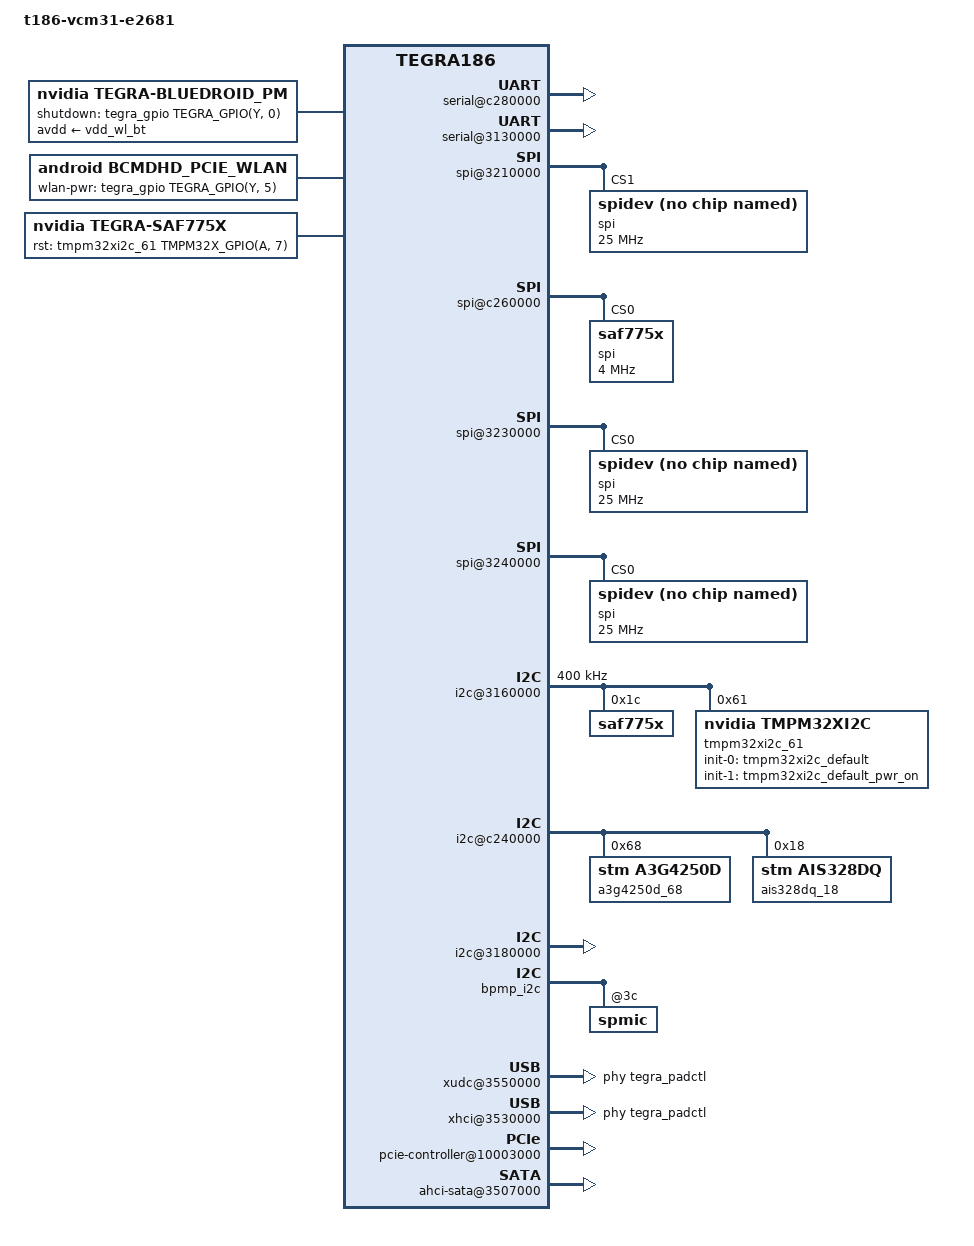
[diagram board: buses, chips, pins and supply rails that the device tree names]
/*
 * tegra186-vcm31-e2681-common.dtsi: VCM3.1 based E2681 A01
 * common dtsi.
 *
 * Copyright (c) 2016, NVIDIA CORPORATION.  All rights reserved.
 *
 * This program is free software; you can redistribute it and/or modify
 * it under the terms of the GNU General Public License as published by
 * the Free Software Foundation; version 2 of the License.
 *
 * This program is distributed in the hope that it will be useful, but WITHOUT
 * ANY WARRANTY; without even the implied warranty of MERCHANTABILITY or
 * FITNESS FOR A PARTICULAR PURPOSE.  See the GNU General Public License for
 * more details.
 */

#include <dt-bindings/types.h>
#include <dt-bindings/gpio/tmpm32x-gpio.h>
/dts-v1/;

/memreserve/ 0x80000000 0x00010000;

#include "tegra186-platforms/tegra186-vcm31.dtsi"
#include "tegra186-platforms/tegra186-vcm31-power-tree-e2681-003-a01-00.dtsi"

#define EXTCON_NONE		0
#define EXTCON_USB             1
#define EXTCON_USB_Host        2

/ {
        model = "t186-vcm31-e2681";
        compatible = "nvidia,t186-vcm31-e2681", "nvidia,tegra186";

        nvidia,dtbbuildtime = __DATE__, __TIME__;
        #address-cells = <2>;
        #size-cells = <2>;

	pmc@c360000 {
		io-pad-defaults {
			sdmmc1-hv {
				nvidia,enable-dynamic-pad-voltage;
			};

			sdmmc3-hv {
				nvidia,enable-dynamic-pad-voltage;
			};
		};
	};

	serial@c280000 { /* TEGRA UARTC <-> VCM UARTC: satellite Radio */
		status = "okay";
	};

	serial@3130000 { /* Tegra UARTD <-> VCM UARTD: BT */
		status = "okay";
	};

	spi@3210000 { /* Tegra SPI1 <-> VCM SPIB: Display AIC */
		status = "okay";
		spi@0 {
			compatible = "spidev";
			reg = <1>;
			spi-max-frequency = <25000000>;
		};
	};

	spi@c260000 { /* Tegra SPI2 <-> VCM SPIA: Dirana */
		status = "okay";
		spi@0 {
			compatible = "saf775x";
			reg = <0>;
			spi-max-frequency = <4000000>;
			spi-cpha;
			controller-data {
				nvidia,clk-delay-between-packets = <10>;
				nvidia,chipselect-gpio = <&tegra_gpio TEGRA_GPIO(N,0) 0>;
			};
		};
	};

	spi@3230000 { /* Tegra SPI3 <-> VCM SPID: HD, DAB AIC, */
		status = "okay";
		spi@0 {
			compatible = "spidev";
			reg = <0>;
			spi-max-frequency = <25000000>;
		};
	};

	spi@3240000 { /* Tegra SPI4 <-> VCM SPIC: MCU */
		status = "okay";
		spi@0 {
			compatible = "spidev";
			reg = <0>;
			spi-max-frequency = <25000000>;
		};
	};

	i2c@3160000 { /* Tegra I2C1 - VCM I2CA */
		clock-frequency = <400000>;
		saf775x@1c {
			 compatible = "saf775x";
			 reg = <0x1c>;
			 status = "okay";
		};

		tmpm32xi2c_61: tmpm32xi2c@61 {
			compatible = "nvidia,tmpm32xi2c";
			gpio-controller;
			#gpio-cells = <2>;
			reg = <0x61>;
			gpio-init-names = "default", "pwr_on_default";
			gpio-init-0 = <&tmpm32xi2c_default>;
			gpio-init-1 = <&tmpm32xi2c_default_pwr_on>;
			tmpm32xi2c_default: default {
				gpio-output-high = <
					TMPM32X_GPIO(D, 1) /* FIXME: D1 is BT_HOST_wake, supposed to be input */
					TMPM32X_GPIO(L, 6)
					>;
			};
			tmpm32xi2c_default_pwr_on: pwr_on_default {
			};
		};
	};

	i2c@c240000 { /* Tegra I2C2 <-> VCM I2CB */
		nvidia,clock-always-on;
		a3g4250d_68: a3g4250d@68 {
			compatible = "stm,a3g4250d";
			reg = <0x68>;
			gyroscope_matrix = [ff 00 00 00 ff 00 00 00 01];
		};
		ais328dq_18: ais328dq@18 {
			compatible = "stm,ais328dq";
			reg = <0x18>;
			accelerometer_matrix = [ff 00 00 00 ff 00 00 00 01];
		};
	};

	i2c@3180000 { /* Tegra I2C3 - VCM I2CD */
		status = "okay";
	};


	bluedroid_pm { /* BCM89359 */
		compatible = "nvidia,tegra-bluedroid_pm";
		id = <0>;
		bluedroid_pm,shutdown-gpio = <&tegra_gpio TEGRA_GPIO(Y, 0) 0>;
		avdd-supply = <&vdd_wl_bt>;
	};

	gpio@2200000 {
		gpio-init-1 = <&wlan_default>;

		wlan_default: wlan-default {
			gpio-output-high = <
				TEGRA_GPIO(Y, 5)
				>;
		};
	};

	bcmdhd_pcie_wlan {
			compatible = "android,bcmdhd_pcie_wlan";
			wlan-pwr-gpio = <&tegra_gpio TEGRA_GPIO(Y, 5) GPIO_ACTIVE_HIGH>;
			fw_path = "/system/vendor/firmware/fw_bcmdhd.bin";
			nv_path = "/system/etc/nvram_murata_4359_b1.txt";
			status = "okay";
	};

	fixed-regulators {

		vdd_wl_bt: regulator@6 {
			status = "okay";
		};
	};

	saf775x { /* dirana3 */
		status = "okay";
		compatible = "nvidia,tegra-saf775x";
		id = <0>;
		rst-gpio = <&tmpm32xi2c_61 TMPM32X_GPIO(A, 7) 0>;
	};

	pinctrl@3520000 {
		status = "okay";
		pinctrl-0 = <&p2382_padctl_default>;
		pinctrl-names = "default";
		p2382_padctl_default: pinmux {
			usb2-std-A-port1 {
				nvidia,lanes = "otg-0";
				nvidia,function = "xusb";
				nvidia,port-cap = <TEGRA_PADCTL_PORT_OTG_CAP>;
			};
			usb3-std-A-port1 {
				nvidia,lanes = "usb3-1";
				nvidia,port-cap = <TEGRA_PADCTL_PORT_OTG_CAP>;
			};
			usb2-modem {
				nvidia,lanes = "otg-1";
				nvidia,function = "xusb";
				nvidia,port-cap = <TEGRA_PADCTL_PORT_HOST_ONLY>;
			};
			usb2-std-A-port2 {
				nvidia,lanes = "otg-2";
				nvidia,function = "xusb";
				nvidia,port-cap = <TEGRA_PADCTL_PORT_HOST_ONLY>;
			};
			usb3-std-A-port2 {
				nvidia,lanes = "usb3-2";
				nvidia,port-cap = <TEGRA_PADCTL_PORT_HOST_ONLY>;
			};
                        usb3-std-A-port0 {
                                nvidia,lanes = "usb3-0";
                                nvidia,port-cap = <TEGRA_PADCTL_PORT_HOST_ONLY>;
                        };

		};
	};

	bpmp_i2c {
		spmic: spmic@3c {
			pinctrl-names = "default";
			pinctrl-0 = <&spmic_default>;
			spmic_default: pinmux@0 {
				pin_gpio0 { /* USB ID */
				pins = "gpio0";
				function = "gpio";
				};
			};
		};
	};

	external-connection {
		vbus_id_extcon: extcon@1 {
			compatible = "extcon-gpio-states";
			reg = <0x1>;
			extcon-gpio,name = "VBUS";
			/*
			 * Array of gstate,cstate pairs. Each pair shows how to
			 * map GPIO signal values into cable values as defined
			 * by the consumer in question.  Here:
			 *
			 * cstate[x].bit0 -> VBUS cable
			 * cstate[x].bit1 -> nID cable
			 *
			 * Since we don't support VBUS sensing, in gadget mode
			 * (cstate[x].bit1 == 0), set cstate[x].bit0 to 1.
			 */
			extcon-gpio,cable-states = <0x3 0x1
						0x0 0x2
						0x1 0x2
						0x2 0x1>;
			/* C.00 is an unused GPIO in our reference platform */
			gpios = <&tegra_gpio TEGRA_GPIO(C, 0) 0 &spmic 0 0>;
			extcon-gpio,out-cable-name-strings = "USB", "USB-Host";
			extcon-gpio,out-cable-names = <EXTCON_USB EXTCON_USB_Host EXTCON_NONE>;
			#extcon-cells = <1>;
		};
	};

	mailbox@3538000 {
		status = "okay";
	};

	xudc@3550000 {
		status = "okay";
		extcon-cables = <&vbus_id_extcon 0>;
		extcon-cable-names = "vbus";
		#extcon-cells = <1>;
		phys = <&tegra_padctl TEGRA_PADCTL_PHY_UTMI_P(0)>,
			<&tegra_padctl TEGRA_PADCTL_PHY_USB3_P(1)>;
		phy-names = "usb2", "usb3";
	};

	xhci@3530000 {
		status = "okay";
		extcon-cables = <&vbus_id_extcon 1>;
		extcon-cable-names = "id";
		#extcon-cells = <1>;
		phys = <&tegra_padctl TEGRA_PADCTL_PHY_UTMI_P(0)>,
			<&tegra_padctl TEGRA_PADCTL_PHY_UTMI_P(1)>,
			<&tegra_padctl TEGRA_PADCTL_PHY_UTMI_P(2)>,
                        <&tegra_padctl TEGRA_PADCTL_PHY_USB3_P(0)>,
			<&tegra_padctl TEGRA_PADCTL_PHY_USB3_P(1)>,
			<&tegra_padctl TEGRA_PADCTL_PHY_USB3_P(2)>;
		phy-names = "utmi-0", "utmi-1", "utmi-2", "usb3-0", "usb3-1", "usb3-2";
	};

	pcie-controller@10003000 {
		nvidia,lane-map = <0x211>;
		status = "okay";
	        pci@1,0 {
                        status = "okay";
                };
		pci@2,0 {
			status = "okay";
		};
	};

	mttcan@c310000 {
		gpio_can_stb = <&tegra_gpio TEGRA_GPIO(AA, 0) GPIO_ACTIVE_HIGH>;
		gpio_can_en = <&tegra_gpio TEGRA_GPIO(AA, 1) GPIO_ACTIVE_HIGH>;
		mram-params = <0 16 16 8 8 8 16 16 16>;
	};

	mttcan@c320000 {
		gpio_can_stb = <&tegra_gpio TEGRA_GPIO(AA, 6) GPIO_ACTIVE_HIGH>;
		gpio_can_en = <&tegra_gpio TEGRA_GPIO(AA, 7) GPIO_ACTIVE_HIGH>;
		mram-params = <0 16 16 8 8 8 16 16 16>;
	};
	ahci-sata@3507000 {
		status = "okay";
	};

	ahub {
		arad@290e400 {
			status = "okay";
		};
	};

	sound_ref {
		status = "okay";
		compatible = "nvidia,tegra-audio-t186ref-p2382";
		nvidia,model = "tegra186-snd-p2382";
		nvidia,num-clk = <8>;
		nvidia,clk-rates = < 282240000  /* PLLA_x11025_RATE */
				     11289600   /* AUD_MCLK_x11025_RATE */
				     45158400   /* PLLA_OUT0_x11025_RATE */
				     45158400   /* AHUB_x11025_RATE */
				     368640000  /* PLLA_x8000_RATE */
				     12288000   /* AUD_MCLK_x8000_RATE */
				     184319970  /* PLLA_OUT0_x8000_RATE */
				     49151992 >;/* AHUB_x8000_RATE */
		clocks =<&tegra_car TEGRA186_CLK_PLLP_OUT0>,
			<&tegra_car TEGRA186_CLK_PLLA>,
			<&tegra_car TEGRA186_CLK_PLL_A_OUT0>,
			<&tegra_car TEGRA186_CLK_AHUB>,
			<&tegra_car TEGRA186_CLK_CLK_M>,
			<&tegra_car TEGRA186_CLK_AUD_MCLK>;
		clock-names = "pll_p_out1", "pll_a", "pll_a_out0", "ahub", "clk_m",
			"extern1";
		resets = <&tegra_car TEGRA186_RESET_AUD_MCLK>;
		reset-names = "extern1_rst";
		nvidia,num-codec-link = <3>;
		nvidia,num-amx = <4>;
		nvidia,num-adx = <4>;
		nvidia,amx-slot-size = <32 32 32 32>;
		nvidia,adx-slot-size = <32 32 32 32>;
		nvidia,amx1-slot-map = <
			/* jack 0 */
			TDM_SLOT_MAP(0, 0, 0)
			TDM_SLOT_MAP(0, 0, 0)
			TDM_SLOT_MAP(0, 1, 0)
			TDM_SLOT_MAP(0, 1, 1)
			TDM_SLOT_MAP(0, 0, 0)
			TDM_SLOT_MAP(0, 0, 0)
			TDM_SLOT_MAP(0, 2, 0)
			TDM_SLOT_MAP(0, 2, 1)
			/* jack 1 */
			TDM_SLOT_MAP(0, 0, 0)
			TDM_SLOT_MAP(0, 0, 0)
			TDM_SLOT_MAP(1, 1, 0)
			TDM_SLOT_MAP(1, 1, 1)
			TDM_SLOT_MAP(0, 0, 0)
			TDM_SLOT_MAP(0, 0, 0)
			TDM_SLOT_MAP(1, 2, 0)
			TDM_SLOT_MAP(1, 2, 1)
			/* jack 2 */
			TDM_SLOT_MAP(0, 0, 0)
			TDM_SLOT_MAP(0, 0, 0)
			TDM_SLOT_MAP(2, 1, 0)
			TDM_SLOT_MAP(2, 1, 1)
			TDM_SLOT_MAP(0, 0, 0)
			TDM_SLOT_MAP(0, 0, 0)
			TDM_SLOT_MAP(2, 2, 0)
			TDM_SLOT_MAP(2, 2, 1)
			/* jack 3 */
			TDM_SLOT_MAP(0, 0, 0)
			TDM_SLOT_MAP(0, 0, 0)
			TDM_SLOT_MAP(3, 1, 0)
			TDM_SLOT_MAP(3, 1, 1)
			TDM_SLOT_MAP(0, 0, 0)
			TDM_SLOT_MAP(0, 0, 0)
			TDM_SLOT_MAP(3, 2, 0)
			TDM_SLOT_MAP(3, 2, 1)>;

		nvidia,adx1-slot-map = <
			/* jack 0 */
			TDM_SLOT_MAP(0, 0, 0)
			TDM_SLOT_MAP(0, 0, 0)
			TDM_SLOT_MAP(0, 1, 0)
			TDM_SLOT_MAP(0, 1, 1)
			TDM_SLOT_MAP(0, 0, 0)
			TDM_SLOT_MAP(0, 0, 0)
			TDM_SLOT_MAP(0, 2, 0)
			TDM_SLOT_MAP(0, 2, 1)
			/* jack 1 */
			TDM_SLOT_MAP(0, 0, 0)
			TDM_SLOT_MAP(0, 0, 0)
			TDM_SLOT_MAP(1, 1, 0)
			TDM_SLOT_MAP(1, 1, 1)
			TDM_SLOT_MAP(0, 0, 0)
			TDM_SLOT_MAP(0, 0, 0)
			TDM_SLOT_MAP(1, 2, 0)
			TDM_SLOT_MAP(1, 2, 1)
			/* jack 2 */
			TDM_SLOT_MAP(0, 0, 0)
			TDM_SLOT_MAP(0, 0, 0)
			TDM_SLOT_MAP(2, 1, 0)
			TDM_SLOT_MAP(2, 1, 1)
			TDM_SLOT_MAP(0, 0, 0)
			TDM_SLOT_MAP(0, 0, 0)
			TDM_SLOT_MAP(2, 2, 0)
			TDM_SLOT_MAP(2, 2, 1)
			/* jack 3 */
			TDM_SLOT_MAP(0, 0, 0)
			TDM_SLOT_MAP(0, 0, 0)
			TDM_SLOT_MAP(3, 1, 0)
			TDM_SLOT_MAP(3, 1, 1)
			TDM_SLOT_MAP(0, 0, 0)
			TDM_SLOT_MAP(0, 0, 0)
			TDM_SLOT_MAP(3, 2, 0)
			TDM_SLOT_MAP(3, 2, 1)>;

		nvidia,audio-routing =
			"Headphone-x", "x OUT",
			"x IN", "LineIn-x",
			"Headphone-y", "y OUT",
			"y IN", "LineIn-y",
			"Headphone-d", "d OUT",
			"d IN", "LineIn-d";

		nvidia,xbar = <&tegra_axbar>;

		nvidia,dai-link-1 {
			link-name = "p2382-audio-dsp-tdm1-1";
			cpu-dai = <&tegra_i2s3>;
			codec-dai = <&spdif_dit0>;
			cpu-dai-name = "I2S3";
			codec-dai-name = "dit-hifi";
			tx-mask = <0xFF>;
			rx-mask = <0xFF>;
			format = "dsp_a";
			bitclock-master;
			frame-master;
			bitclock-noninversion;
			frame-noninversion;
			bit-format = "s32_le";
			bclk_ratio = <1>;
			srate = <48000>;
			num-channel = <8>;
			name-prefix = "x";
		};

		nvidia,dai-link-2 {
			link-name = "p2382-audio-dsp-tdm1-2";
			cpu-dai = <&tegra_i2s4>;
			codec-dai = <&spdif_dit1>;
			cpu-dai-name = "I2S4";
			codec-dai-name = "dit-hifi";
			tx-mask = <0xFF>;
			rx-mask = <0xFF>;
			format = "dsp_a";
			bitclock-master;
			frame-master;
			bitclock-noninversion;
			frame-noninversion;
			bit-format = "s32_le";
			bclk_ratio = <1>;
			srate = <48000>;
			num-channel = <8>;
			name-prefix = "y";
		};

		nvidia,dai-link-3 {
			link-name = "dummy-playback";
			cpu-dai = <&tegra_i2s1>;
			codec-dai = <&spdif_dit2>;
			cpu-dai-name = "I2S1";
			codec-dai-name = "dit-hifi";
			tx-mask = <0xFF>;
			rx-mask = <0xFF>;
			format = "dsp_a";
			bitclock-master;
			frame-master;
			bitclock-noninversion;
			frame-noninversion;
			bit-format = "s32_le";
			bclk_ratio = <1>;
			srate = <48000>;
			num-channel = <8>;
			name-prefix = "d";
		};
	};

	adsp_audio {
		status = "okay";
	};

	sdhci@3420000 {
		status = "disabled";
	};
	sdhci@3400000 {
		status = "disabled";
	};
	sdhci@3460000 {
		status = "disabled";
	};


};

